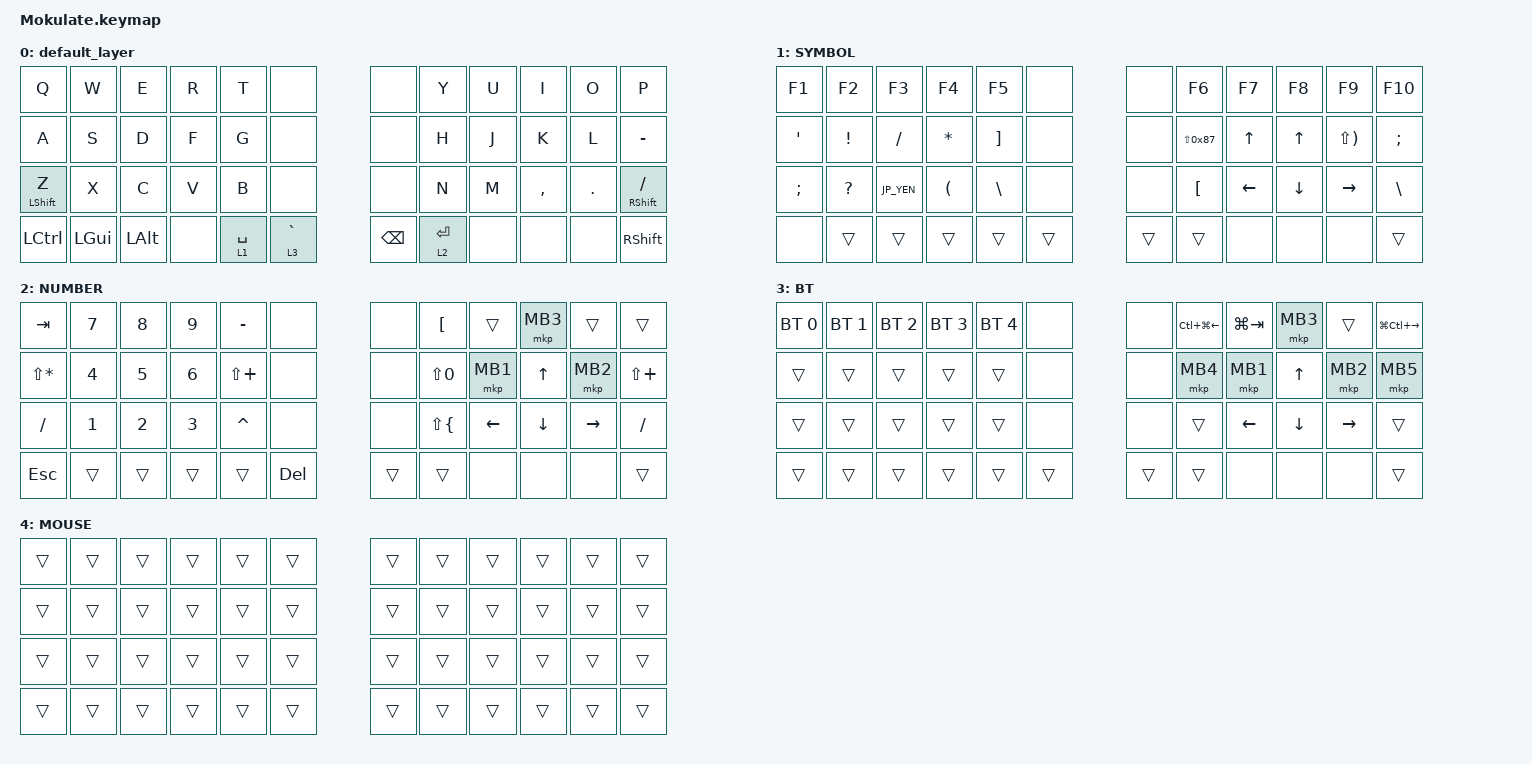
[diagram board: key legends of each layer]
#include <behaviors.dtsi>
#include <dt-bindings/zmk/bt.h>
#include <dt-bindings/zmk/keys.h>
#include <dt-bindings/zmk/pointing.h>

// OS設定を日本語キーボードのまま使用するための変換定義

#define JP_DQUOTE       AT                // "
#define JP_AMPERSAND    CARET             // &
#define JP_QUOTE        AMPERSAND         // '
#define JP_EQUAL        UNDER             // =
#define JP_CARET        EQUAL             // ^
#define JP_YEN          0x89              // ¥
#define JP_PLUS         COLON             // +
#define JP_TILDE        PLUS              // ~
#define JP_PIPE         LS(0x89)          // |
#define JP_AT           LEFT_BRACKET      // @
#define JP_COLON        SINGLE_QUOTE      // :
#define JP_ASTERISK     DOUBLE_QUOTES     // *
#define JP_BACKQUOTE    LEFT_BRACE        // `
#define JP_UNDERSCORE   LS(0x87)          // _
#define JP_LBRACKET     RIGHT_BRACKET     // [
#define JP_RBRACKET     BACKSLASH         // ]
#define JP_LPAREN       ASTERISK          // (
#define JP_RPAREN       LEFT_PARENTHESIS  // )
#define JP_LBRACE       RIGHT_BRACE       // {
#define JP_RBRACE       PIPE              // }
#define JP_KANA         LANGUAGE_1        // かな
#define JP_EISU         LANGUAGE_2        // 英数
#define JP_HANZEN       GRAVE             // 半角/全角

/ {
    combos {
        compatible = "zmk,combos";

        tab {
            bindings = <&kp TAB>;
            key-positions = <14 13>;
            layers = <0>;
        };

        stab {
            bindings = <&kp LS(TAB)>;
            key-positions = <15 14>;
        };

        btreset {
            bindings = <&bt BT_CLR>;
            key-positions = <0 4>;
            layers = <3>;
        };

        boot {
            bindings = <&bootloader>;
            key-positions = <1 2 3>;
            layers = <3>;
        };

        dq {
            bindings = <&kp DQT>;
            key-positions = <16 19>;
        };
    };

    keymap {
        compatible = "zmk,keymap";

        default_layer {
            bindings = <
&kp Q             &kp W     &kp E     &kp R  &kp T        &none          &none     &kp Y        &kp U  &kp I      &kp O    &kp P
&kp A             &kp S     &kp D     &kp F  &kp G        &none          &none     &kp H        &kp J  &kp K      &kp L    &kp MINUS
&mt LEFT_SHIFT Z  &kp X     &kp C     &kp V  &kp B        &none          &none     &kp N        &kp M  &kp COMMA  &kp DOT  &mt RIGHT_SHIFT SLASH
&kp LCTRL         &kp LGUI  &kp LALT  &none  &lt 1 SPACE  &lt 3 GRAVE    &kp BSPC  &lt 2 ENTER  &none  &none      &none    &kp RSHFT
            >;
        };

        SYMBOL {
            bindings = <
&kp F1         &kp F2           &kp F3      &kp F4         &kp F5           &none     &none   &kp F6             &kp F7    &kp F8    &kp F9        &kp F10
&kp JP_COLON   &kp EXCLAMATION  &kp SLASH   &kp JP_LPAREN  &kp JP_LBRACKET  &none     &none   &kp JP_UNDERSCORE  &kp UP    &kp UP    &kp LS(RPAR)  &kp SEMI
&kp SEMICOLON  &kp QUESTION     &kp JP_YEN  &kp JP_RPAREN  &kp JP_RBRACKET  &none     &none   &kp JP_AT          &kp LEFT  &kp DOWN  &kp RIGHT     &kp BSLH
&none          &trans           &trans      &trans         &trans           &trans    &trans  &trans             &none     &none     &none         &trans
            >;
        };

        NUMBER {
            bindings = <
&kp TAB       &kp N7  &kp N8  &kp N9  &kp MINUS     &none    &none   &kp LBKT      &trans    &mkp MB3  &trans     &trans
&kp LS(STAR)  &kp N4  &kp N5  &kp N6  &kp LS(PLUS)  &none    &none   &kp LS(N0)    &mkp MB1  &kp UP    &mkp MB2   &kp LS(PLUS)
&kp FSLH      &kp N1  &kp N2  &kp N3  &kp CARET     &none    &none   &kp LS(LBRC)  &kp LEFT  &kp DOWN  &kp RIGHT  &kp FSLH
&kp ESCAPE    &trans  &trans  &trans  &trans        &kp DEL  &trans  &trans        &none     &none     &none      &trans
            >;
        };

        BT {
            bindings = <
&bt BT_SEL 0  &bt BT_SEL 1  &bt BT_SEL 2  &bt BT_SEL 3  &bt BT_SEL 4  &none     &none   &kp LC(LG(LEFT))  &kp LG(TAB)  &mkp MB3  &trans     &kp LG(LC(RIGHT))
&trans        &trans        &trans        &trans        &trans        &none     &none   &mkp MB4          &mkp MB1     &kp UP    &mkp MB2   &mkp MB5
&trans        &trans        &trans        &trans        &trans        &none     &none   &trans            &kp LEFT     &kp DOWN  &kp RIGHT  &trans
&trans        &trans        &trans        &trans        &trans        &trans    &trans  &trans            &none        &none     &none      &trans
            >;
        };

        MOUSE {
            bindings = <
&trans  &trans  &trans  &trans  &trans  &trans    &trans  &trans  &trans  &trans  &trans  &trans
&trans  &trans  &trans  &trans  &trans  &trans    &trans  &trans  &trans  &trans  &trans  &trans
&trans  &trans  &trans  &trans  &trans  &trans    &trans  &trans  &trans  &trans  &trans  &trans
&trans  &trans  &trans  &trans  &trans  &trans    &trans  &trans  &trans  &trans  &trans  &trans
            >;
        };
    };
};
